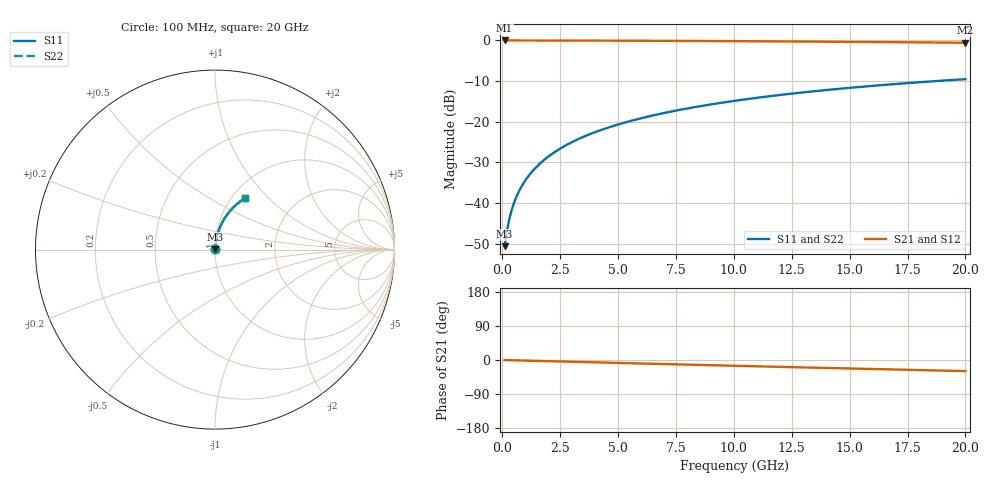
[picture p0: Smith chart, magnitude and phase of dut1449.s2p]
! Touchstone file exported from HFSS 2026.1.0
!  File:  C:/ffzhzh/LocalFiles/Ansys_Project_Files/temp_train_TMRDL_1449_1783167173_18472.aedt
!  Generated:  08:14:07 PM Jul  4, 2026
!  Design:  TMRDL
!  Project:  temp_train_TMRDL_1449_1783167173_18472
! Variables:
!  h_bsmrdl = 2um
!  h_ox = 20um
!  h_rdl = 5um
!  h_sub = 80um
!  h_tmrdl = 3.05um
!  h_tsv = 80um
!  h_via = 3um
!  l_bsmrdl = 300um
!  l_sub = 748.04um
!  l_tmrdl = 348.04um
!  m_sub = 200um
!  pitch = 59.43um
!  r_tsv = 6um
!  s_tmrdl = 10um
!  w_bsmrdl = 18um
!  w_sub = 500um
!  w_tmrdl = 20.65um
!  x_tsv_center1 = 358.365um
!  x_tsv_center2 = 676.365um
!  x_tsv_center3 = 1045.055um
!  x_tsv_center4 = 1363.055um
!  x_tsv_center5 = 1731.745um
!  x_tsv_center6 = 2049.745um
# GHz S MA R 50.000000
! Terminal data exported
! Port[1] = TM_RDL1_1_T1
! Port[2] = TM_RDL1_1_T2
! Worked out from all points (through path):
!   200 points, 100 MHz to 20 GHz, reference 50 ohm
!   highest |S21| = -0.02 dB at 100 MHz (marker M1); lowest = -0.6 dB at 20 GHz (marker M2)
!   group delay of S21, straight-line fit = 4.08 ps
!   lowest |S11| = -50.6 dB at 100 MHz (marker M3), VSWR 1.01, Z = 50.2 + j0.198 ohm
!   |S11| at or under -10 dB: start of sweep to 18.74 GHz
!   |S22| runs from -50.6 to -9.5 dB; largest |S21 - S12| = 3.5e-15
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0.1  0.002949 42.1  0.9978 -0.2  0.9978 -0.2  0.002949 42.1
! Gamma 0 0 0 0
! Port Impedance 50 0 50 0
0.2  0.004534 60.0  0.9977 -0.3  0.9977 -0.3  0.004534 60.0
0.3  0.006303 67.9  0.9977 -0.5  0.9977 -0.5  0.006303 67.9
0.4  0.008111 72.1  0.9976 -0.6  0.9976 -0.6  0.008111 72.1
0.5  0.009929 74.8  0.9975 -0.8  0.9975 -0.8  0.009929 74.8
0.6  0.01175 76.6  0.9974 -0.9  0.9974 -0.9  0.01175 76.6
0.8  0.0154 79.0  0.9973 -1.3  0.9973 -1.3  0.0154 79.0
1.1  0.0209 80.9  0.9971 -1.7  0.9971 -1.7  0.0209 80.9
1.5  0.02826 82.0  0.9968 -2.3  0.9968 -2.3  0.02826 82.0
1.8  0.0338 82.4  0.9966 -2.8  0.9966 -2.8  0.03379 82.4
2.1  0.03933 82.5  0.9964 -3.3  0.9964 -3.3  0.03933 82.5
2.7  0.0504 82.4  0.9957 -4.2  0.9957 -4.2  0.0504 82.4
3.5  0.06511 81.8  0.9947 -5.4  0.9947 -5.4  0.06511 81.8
4.2  0.07791 81.0  0.9936 -6.5  0.9936 -6.5  0.07791 81.0
5  0.09244 80.1  0.9922 -7.7  0.9922 -7.7  0.09244 80.1
5.9  0.1086 78.9  0.9902 -9.1  0.9902 -9.1  0.1086 78.9
6.8  0.1247 77.6  0.9881 -10.5  0.9881 -10.5  0.1247 77.6
8.3  0.151 75.5  0.9839 -12.7  0.9839 -12.7  0.151 75.5
10.1  0.1817 73.0  0.9782 -15.4  0.9782 -15.4  0.1817 73.0
13.4  0.2358 68.4  0.9658 -20.2  0.9658 -20.2  0.2358 68.4
16.7  0.2866 63.8  0.9513 -24.8  0.9513 -24.8  0.2866 63.8
20  0.3338 59.4  0.9354 -29.3  0.9354 -29.3  0.3338 59.4
